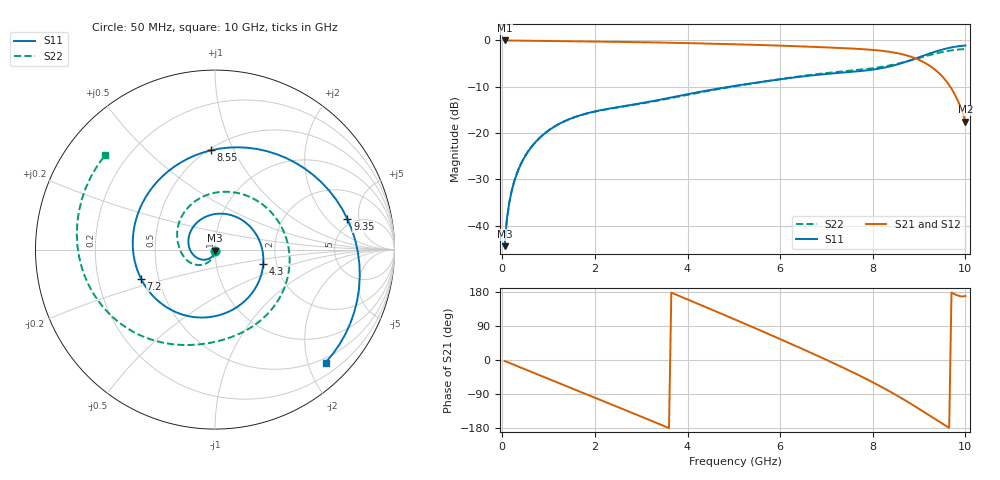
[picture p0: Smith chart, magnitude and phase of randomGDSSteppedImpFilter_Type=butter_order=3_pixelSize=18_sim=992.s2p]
! freq	dB(S11)	phase(S11)	dB(S12)	phase(S12)
!  dB(S21)	phase(S21)	dB(S22)	phase(S22)
!S-par simulation data
#  GHz  S  DB  R 50
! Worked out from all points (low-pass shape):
!   200 points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, 50 MHz to 10 GHz, reference 50 ohm
!   highest |S21| = 0.00 dB at 50 MHz (marker M1); lowest = -17.6 dB at 10 GHz (marker M2)
!   |S21| within 3 dB of the highest: start of sweep to 8.646 GHz
!   lowest |S11| = -44.5 dB at 50 MHz (marker M3), VSWR 1.01, Z = 50 - j0.598 ohm
!   |S11| at or under -10 dB: start of sweep to 4.904 GHz
!   |S22| runs from -44.4 to -1.9 dB; largest |S21 - S12| = 0
!   S11 on the Smith chart (normalised r, x): 50 MHz: 1.00, -0.01; 4.3 GHz: 1.70, -0.30; 7.2 GHz: 0.40, -0.16; 8.55 GHz: 0.51, +0.82; 9.35 GHz: 4.37, +3.49; 10 GHz: 0.41, -2.32
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0.05  -44.45 -91.3  -0.00 -2.5  -0.00 -2.5  -44.43 -90.1
0.1  -38.57 -95.0  -0.01 -5.1  -0.01 -5.1  -38.55 -92.7
0.2  -32.64 -102.0  -0.02 -10.1  -0.02 -10.1  -32.62 -97.4
0.5  -24.89 -121.3  -0.05 -25.0  -0.05 -25.0  -24.87 -109.7
1.15  -18.47 -162.4  -0.13 -57.2  -0.13 -57.2  -18.47 -133.9
1.75  -15.97 158.0  -0.21 -86.9  -0.21 -86.9  -16.00 -153.9
2.5  -14.40 104.9  -0.31 -124.2  -0.31 -124.2  -14.47 -175.4
2.95  -13.65 72.0  -0.37 -146.8  -0.37 -146.8  -13.74 172.5
3.4  -12.81 39.8  -0.45 -169.5  -0.45 -169.5  -12.93 159.3
3.85  -11.92 10.0  -0.54 167.5  -0.54 167.5  -12.05 143.6
4.3  -11.04 -16.7  -0.65 144.4  -0.65 144.4  -11.18 124.5
5.05  -9.77 -54.9  -0.84 105.5  -0.84 105.5  -9.86 85.5
5.8  -8.67 -88.3  -1.06 65.9  -1.06 65.9  -8.67 40.3
6.7  -7.54 -130.4  -1.38 17.1  -1.38 17.1  -7.39 -14.8
7.2  -7.07 -158.6  -1.59 -11.0  -1.59 -11.0  -6.83 -43.0
7.8  -6.55 159.6  -1.90 -46.3  -1.90 -46.3  -6.24 -73.4
8.35  -5.66 111.6  -2.44 -81.8  -2.44 -81.8  -5.44 -99.3
8.55  -5.13 92.2  -2.79 -95.7  -2.79 -95.7  -5.00 -109.1
8.95  -3.80 52.3  -3.99 -125.2  -3.99 -125.2  -3.94 -131.7
9.35  -2.41 13.0  -6.37 -156.3  -6.37 -156.3  -2.85 -160.2
9.7  -1.50 -19.5  -10.42 177.8  -10.42 177.8  -2.15 169.3
10  -1.10 -45.6  -17.59 169.0  -17.59 169.0  -1.86 139.1
